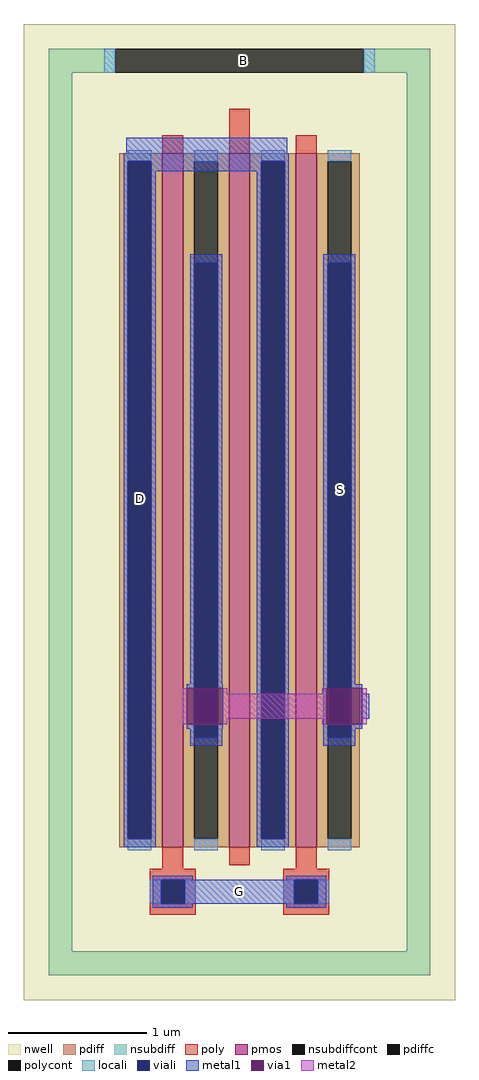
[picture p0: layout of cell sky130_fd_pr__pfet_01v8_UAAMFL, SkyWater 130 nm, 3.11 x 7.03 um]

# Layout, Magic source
magic
tech sky130A
magscale 1 2
<< nwell >>
rect -311 -703 311 703
<< pmos >>
rect -111 -483 -81 517
rect -15 -483 15 517
rect 81 -483 111 517
<< pdiff >>
rect -173 505 -111 517
rect -173 -471 -161 505
rect -127 -471 -111 505
rect -173 -483 -111 -471
rect -81 505 -15 517
rect -81 -471 -65 505
rect -31 -471 -15 505
rect -81 -483 -15 -471
rect 15 505 81 517
rect 15 -471 31 505
rect 65 -471 81 505
rect 15 -483 81 -471
rect 111 505 173 517
rect 111 -471 127 505
rect 161 -471 173 505
rect 111 -483 173 -471
<< pdiffc >>
rect -161 -471 -127 505
rect -65 -471 -31 505
rect 31 -471 65 505
rect 127 -471 161 505
<< nsubdiff >>
rect -275 633 -179 667
rect 179 633 275 667
rect -275 -633 -241 633
rect 241 -633 275 633
rect -275 -667 275 -633
<< nsubdiffcont >>
rect -179 633 179 667
<< poly >>
rect -111 517 -81 543
rect -15 517 15 581
rect 81 517 111 543
rect -111 -514 -81 -483
rect -15 -509 15 -483
rect 81 -514 111 -483
rect -129 -530 -63 -514
rect -129 -564 -113 -530
rect -79 -564 -63 -530
rect -129 -580 -63 -564
rect 63 -530 129 -514
rect 63 -564 79 -530
rect 113 -564 129 -530
rect 63 -580 129 -564
<< polycont >>
rect -113 -564 -79 -530
rect 79 -564 113 -530
<< locali >>
rect -195 633 -179 667
rect 179 633 195 667
rect -161 505 -127 521
rect -161 -487 -127 -471
rect -65 505 -31 521
rect -65 -487 -31 -471
rect 31 505 65 521
rect 31 -487 65 -471
rect 127 505 161 521
rect 127 -487 161 -471
rect -129 -564 -113 -530
rect -79 -564 -63 -530
rect 63 -564 79 -530
rect 113 -564 129 -530
<< viali >>
rect -161 -471 -127 505
rect -65 -325 -31 359
rect 31 -471 65 505
rect 127 -325 161 359
rect -113 -564 -79 -530
rect 79 -564 113 -530
<< metal1 >>
rect -163 517 69 539
rect -167 505 71 517
rect -167 -471 -161 505
rect -127 491 31 505
rect -127 -471 -121 491
rect -71 359 -25 371
rect -71 -248 -65 359
rect -76 -254 -65 -248
rect -31 -248 -25 359
rect -31 -254 -24 -248
rect -76 -312 -65 -306
rect -71 -325 -65 -312
rect -31 -312 -24 -306
rect -31 -325 -25 -312
rect -71 -337 -25 -325
rect -167 -483 -121 -471
rect 25 -471 31 491
rect 65 -471 71 505
rect 121 359 167 371
rect 121 -254 127 359
rect 161 -248 167 359
rect 161 -254 177 -248
rect 121 -306 125 -254
rect 177 -298 187 -262
rect 121 -325 127 -306
rect 161 -312 177 -306
rect 161 -325 167 -312
rect 121 -337 167 -325
rect 25 -483 71 -471
rect -125 -530 -67 -524
rect 67 -530 125 -524
rect -125 -564 -113 -530
rect -79 -564 79 -530
rect 113 -564 125 -530
rect -125 -570 -67 -564
rect 67 -570 125 -564
<< via1 >>
rect -76 -306 -65 -254
rect -65 -306 -31 -254
rect -31 -306 -24 -254
rect 125 -306 127 -254
rect 127 -306 161 -254
rect 161 -306 177 -254
<< metal2 >>
rect -82 -306 -76 -254
rect -24 -262 -18 -254
rect 119 -262 125 -254
rect -24 -298 125 -262
rect -24 -306 -18 -298
rect 119 -306 125 -298
rect 177 -306 183 -254
<< labels >>
flabel metal1 s -143 20 -143 20 0 FreeSans 320 0 0 0 D
port 0 nsew
flabel metal1 s 146 32 146 32 0 FreeSans 320 0 0 0 S
port 1 nsew
flabel metal1 s 0 -546 0 -546 0 FreeSans 320 0 0 0 G
port 2 nsew
flabel locali s 6 650 6 650 0 FreeSans 320 0 0 0 B
port 3 nsew
<< end >>
